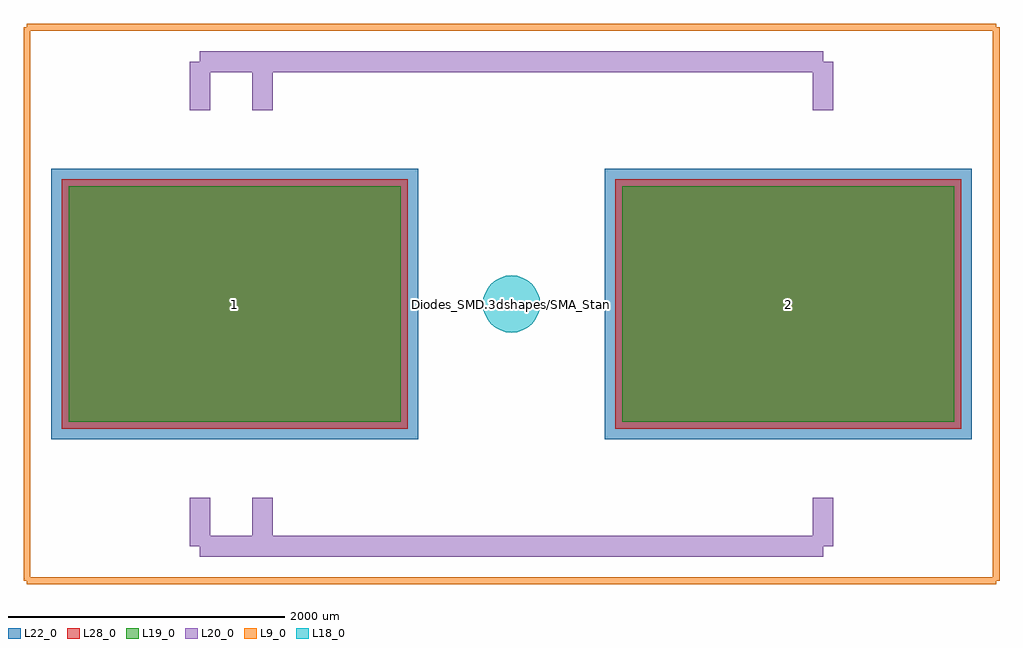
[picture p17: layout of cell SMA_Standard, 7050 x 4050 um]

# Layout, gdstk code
import gdstk
lib = gdstk.Library(unit=1e-6, precision=1e-09)
def R(c, l, rs):  # rectangles x0, y0, x1, y1
    for r in rs: c.add(gdstk.rectangle(r[:2], r[2:], *l))
def P(c, l, *ps):  # polygons
    for p in ps: c.add(gdstk.Polygon(p, *l))
L9_0 = (9, 0)
L18_0 = (18, 0)
L19_0 = (19, 0)
L20_0 = (20, 0)
L22_0 = (22, 0)
L28_0 = (28, 0)

sma_standard = lib.new_cell('SMA_Standard')
P(sma_standard, L18_0, [(206.99,0),(203.013,40.382),(191.234,79.212),(172.106,114.997),(146.364,146.364),(114.997,172.106),(79.212,191.234),(40.382,203.013),(0,206.99),(-40.382,203.013),(-79.212,191.234),(-114.997,172.106),(-146.364,146.364),(-172.106,114.997),(-191.234,79.212),(-203.013,40.382),(-206.99,0),(-203.013,-40.382),(-191.234,-79.212),(-172.106,-114.997),(-146.364,-146.364),(-114.997,-172.106),(-79.212,-191.234),(-40.382,-203.013),(0,-206.99),(40.382,-203.013),(79.212,-191.234),(114.997,-172.106),(146.364,-146.364),(172.106,-114.997),(191.234,-79.212),(203.013,-40.382)])
R(sma_standard, L19_0, [(-3198.66,-850.43,-799.3,850.43), (799.3,-850.43,3198.66,850.43)])
R(sma_standard, L22_0, [(-3323.66,-975.43,-674.3,975.43), (674.3,-975.43,3323.66,975.43)])
R(sma_standard, L28_0, [(-3248.66,-900.43,-749.3,900.43), (749.3,-900.43,3248.66,900.43)])
sma_standard.add(gdstk.FlexPath([(-2250.44,1750.06),(2250.44,1750.06)], 149.998, ends="flush", simple_path=True, layer=20, datatype=0))  # L20_0
sma_standard.add(gdstk.FlexPath([(-2250.44,-1750.06),(2250.44,-1750.06)], 149.998, ends="flush", simple_path=True, layer=20, datatype=0))  # L20_0
sma_standard.add(gdstk.FlexPath([(2250.44,1750.06),(2250.44,1399.54)], 149.998, ends="flush", simple_path=True, layer=20, datatype=0))  # L20_0
sma_standard.add(gdstk.FlexPath([(-2250.44,1750.06),(-2250.44,1399.54)], 149.998, ends="flush", simple_path=True, layer=20, datatype=0))  # L20_0
sma_standard.add(gdstk.FlexPath([(-2250.44,-1750.06),(-2250.44,-1399.54)], 149.998, ends="flush", simple_path=True, layer=20, datatype=0))  # L20_0
sma_standard.add(gdstk.FlexPath([(2250.44,-1750.06),(2250.44,-1399.54)], 149.998, ends="flush", simple_path=True, layer=20, datatype=0))  # L20_0
sma_standard.add(gdstk.FlexPath([(-1799.14,1750.06),(-1799.14,1399.54)], 149.998, ends="flush", simple_path=True, layer=20, datatype=0))  # L20_0
sma_standard.add(gdstk.FlexPath([(-1799.14,-1750.06),(-1799.14,-1399.54)], 149.998, ends="flush", simple_path=True, layer=20, datatype=0))  # L20_0
sma_standard.add(gdstk.FlexPath([(-3500,-2000),(-3500,2000)], 50, ends="flush", simple_path=True, layer=9, datatype=0))  # L9_0
sma_standard.add(gdstk.FlexPath([(3500,-2000),(-3500,-2000)], 50, ends="flush", simple_path=True, layer=9, datatype=0))  # L9_0
sma_standard.add(gdstk.FlexPath([(3500,2000),(3500,-2000)], 50, ends="flush", simple_path=True, layer=9, datatype=0))  # L9_0
sma_standard.add(gdstk.FlexPath([(-3500,2000),(3500,2000)], 50, ends="flush", simple_path=True, layer=9, datatype=0))  # L9_0
sma_standard.add(gdstk.Label('Diodes_SMD.3dshapes/SMA_Standard.wrl', (0,0), layer=12, texttype=0))
sma_standard.add(gdstk.Label('2', (1998.98,0), layer=28, texttype=0))
sma_standard.add(gdstk.Label('1', (-1998.98,0), layer=28, texttype=0))
sma_standard.add(gdstk.Label('A', (2900,-2900), layer=9, texttype=0))
sma_standard.add(gdstk.Label('K', (-2900,-2950), layer=9, texttype=0))
sma_standard.add(gdstk.Label('type', (0,-4300), layer=9, texttype=0))
sma_standard.add(gdstk.Label('devicename', (0,3810), layer=9, texttype=0))

lib.write_gds('SMA_Standard.gds')
